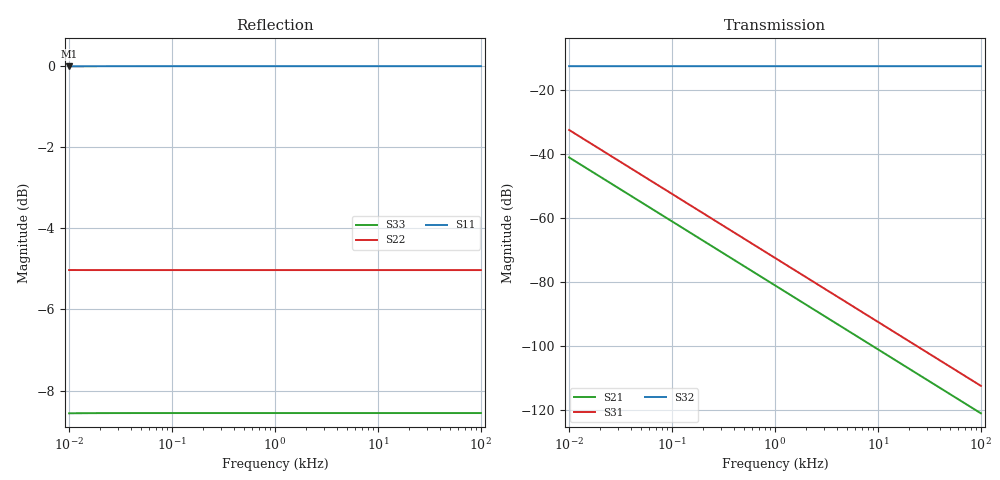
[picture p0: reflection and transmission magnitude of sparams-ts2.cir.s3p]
[Version] 2.0
# Hz S RI R 50 50 100
[Number of Ports] 3
[Reference] 50 50 100
!  Freq  ReS11  ImS11  ReS12  ImS12  ReS13  ImS13  ReS21  ImS21  ReS22  ImS22  ReS23  ImS23  ReS31  ImS31  ReS32  ImS32  ReS33  ImS33
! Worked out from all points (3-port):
!   41 points, 10 Hz to 100 kHz, reference per port
!   strongest paths, dB at 10 Hz, 100 Hz, 1 kHz, 10 kHz, 100 kHz:
!     S32: -12.6, -12.6, -12.6, -12.6, -12.6
!     S31: -32.6, -52.6, -72.6, -92.6, -112.6
!     S21: -41.2, -61.2, -81.2, -101.2, -121.2
!   lowest |S11| = 0.0 dB at 10 Hz (marker M1)
!   |S11| at or under -10 dB: nowhere
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[Number of Frequencies] 10
[Network Data]
10  -0.9964 -0.0635  0.000388 -0.00872  0.00104 -0.0234
    0.000388 -0.00872  0.5605 -0.0012  0.2333 -0.00322
    0.00104 -0.0234  0.2333 -0.00322  -0.3732 -0.00866
19.95262  -0.9985 -0.0319  9.77e-05 -0.00438  0.000262 -0.0118
          9.77e-05 -0.00438  0.5605 -0.000602  0.2331 -0.00162
          0.000262 -0.0118  0.2331 -0.00162  -0.3735 -0.00434
39.81072  -0.999 -0.016  2.45e-05 -0.0022  6.59e-05 -0.0059
          2.45e-05 -0.0022  0.5604 -0.000302  0.2331 -0.000811
          6.59e-05 -0.0059  0.2331 -0.000811  -0.3736 -0.00218
125.8925  -0.9992 -0.00505  2.45e-06 -0.000694  6.59e-06 -0.00187
          2.45e-06 -0.000694  0.5604 -9.56e-05  0.2331 -0.000256
          6.59e-06 -0.00187  0.2331 -0.000256  -0.3736 -0.000689
794.3282  -0.9992 -0.000801  6.14e-08 -0.00011  1.65e-07 -0.000296
          6.14e-08 -0.00011  0.5604 -1.62e-05  0.2331 -4.11e-05
          1.65e-07 -0.000296  0.2331 -4.11e-05  -0.3736 -0.00011
1000  -0.9992 -0.000636  3.87e-08 -8.74e-05  1.04e-07 -0.000235
      3.87e-08 -8.74e-05  0.5604 -1.34e-05  0.2331 -3.29e-05
      1.04e-07 -0.000235  0.2331 -3.29e-05  -0.3736 -8.73e-05
1258.925  -0.9992 -0.000505  2.43e-08 -6.94e-05  6.57e-08 -0.000187
          2.43e-08 -6.94e-05  0.5604 -1.13e-05  0.2331 -2.64e-05
          6.57e-08 -0.000187  0.2331 -2.64e-05  -0.3736 -6.96e-05
1995.262  -0.9992 -0.000319  9.55e-09 -4.38e-05  2.6e-08 -0.000118
          9.55e-09 -4.38e-05  0.5604 -8.76e-06  0.2331 -1.73e-05
          2.6e-08 -0.000118  0.2331 -1.73e-05  -0.3736 -4.46e-05
2511.886  -0.9992 -0.000253  5.94e-09 -3.48e-05  1.63e-08 -9.35e-05
          5.94e-09 -3.48e-05  0.5604 -8.24e-06  0.2331 -1.43e-05
          1.63e-08 -9.35e-05  0.2331 -1.43e-05  -0.3736 -3.6e-05
100000  -0.9992 -6.36e-06  -2.17e-10 -8.74e-07  -2.13e-10 -2.35e-06
        -2.17e-10 -8.74e-07  0.5604 -0.000138  0.2331 -5.82e-05
        -2.13e-10 -2.35e-06  0.2331 -5.82e-05  -0.3736 -5.78e-05
[End]
